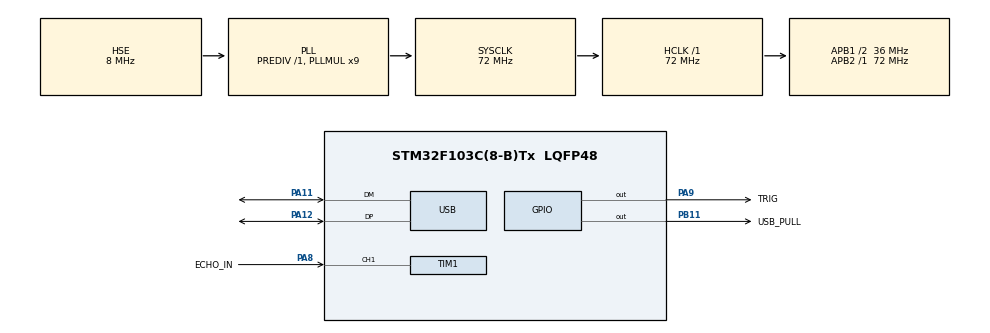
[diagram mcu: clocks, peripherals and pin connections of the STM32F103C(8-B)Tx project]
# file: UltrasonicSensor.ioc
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FREERTOS.Tasks01=defaultTask,24,128,StartDefaultTask,Default,NULL,Dynamic,NULL,NULL
Mcu.Family=STM32F1
Mcu.Name=STM32F103C(8-B)Tx
Mcu.Package=LQFP48
NVIC.PriorityGroup=NVIC_PRIORITYGROUP_4
NVIC.TIM1_CC_IRQn=true\:5\:0\:false\:false\:true\:true\:true\:true
NVIC.TIM3_IRQn=true\:0\:0\:false\:false\:true\:false\:false\:true
NVIC.TimeBase=TIM3_IRQn
NVIC.TimeBaseIP=TIM3
NVIC.USB_LP_CAN1_RX0_IRQn=true\:5\:0\:false\:false\:true\:true\:false\:true
PA11.Mode=Device
PA11.Signal=USB_DM
PA12.Mode=Device
PA12.Signal=USB_DP
PA13.Mode=Serial_Wire
PA13.Signal=SYS_JTMS-SWDIO
PA14.Mode=Serial_Wire
PA14.Signal=SYS_JTCK-SWCLK
PA8.GPIO_Label=ECHO_IN
PA8.Signal=S_TIM1_CH1
PA9.GPIO_Label=TRIG
PA9.Signal=GPIO_Output
PB11.GPIO_Label=USB_PULL
PB11.Signal=GPIO_Output
PD0-OSC_IN.Mode=HSE-External-Oscillator
PD0-OSC_IN.Signal=RCC_OSC_IN
PD1-OSC_OUT.Mode=HSE-External-Oscillator
PD1-OSC_OUT.Signal=RCC_OSC_OUT
ProjectManager.HeapSize=0x200
ProjectManager.StackSize=0x400
ProjectManager.TargetToolchain=Makefile
RCC.AHBFreq_Value=72000000
RCC.APB1CLKDivider=RCC_HCLK_DIV2
RCC.APB1Freq_Value=36000000
RCC.APB1TimFreq_Value=72000000
RCC.APB2Freq_Value=72000000
RCC.APB2TimFreq_Value=72000000
RCC.HCLKFreq_Value=72000000
RCC.PLLMUL=RCC_PLL_MUL9
RCC.SYSCLKFreq_VALUE=72000000
RCC.SYSCLKSource=RCC_SYSCLKSOURCE_PLLCLK
RCC.USBFreq_Value=48000000
RCC.USBPrescaler=RCC_USBCLKSOURCE_PLL_DIV1_5
SH.S_TIM1_CH1.0=TIM1_CH1,Input_Capture1_from_TI1
SH.S_TIM1_CH1.1=TIM1_CH1,TriggerSource_TI1ED
TIM1.Channel-Input_Capture1_from_TI1=TIM_CHANNEL_1
TIM1.ICPolarity_CH1=TIM_INPUTCHANNELPOLARITY_FALLING
TIM1.Period=65535
TIM1.Prescaler=71
TIM1.TIM_MasterOutputTrigger=TIM_TRGO_RESET
USB_DEVICE.CLASS_NAME_FS=CDC
USB_DEVICE.VirtualMode=Cdc
USB_DEVICE.VirtualModeFS=Cdc_FS
VP_FREERTOS_VS_CMSIS_V2.Mode=CMSIS_V2
VP_SYS_VS_tim3.Mode=TIM3
VP_TIM1_VS_ClockSourceINT.Mode=Internal
VP_TIM1_VS_ControllerModeReset.Mode=Reset Mode
VP_USB_DEVICE_VS_USB_DEVICE_CDC_FS.Mode=CDC_FS
board=custom

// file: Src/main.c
/* USER CODE BEGIN Header */
/**
  ******************************************************************************
  * @file           : main.c
  * @brief          : Main program body
  ******************************************************************************
  * @attention
  *
  * <h2><center>&copy; Copyright (c) 2020 STMicroelectronics.
  * All rights reserved.</center></h2>
  *
  * This software component is licensed by ST under BSD 3-Clause license,
  * the "License"; You may not use this file except in compliance with the
  * License. You may obtain a copy of the License at:
  *                        opensource.org/licenses/BSD-3-Clause
  *
  ******************************************************************************
  */
/* USER CODE END Header */

#include "main.h"
#include "cmsis_os.h"
#include "usb_device.h"

/* USER CODE BEGIN Includes */
#include "usbd_cdc_if.h"
#include "stdio.h"
#include "task.h"
/* USER CODE END Includes */

TIM_HandleTypeDef htim1;

/* Definitions for defaultTask */
osThreadId_t defaultTaskHandle;
const osThreadAttr_t defaultTask_attributes = {
  .name = "defaultTask",
  .priority = (osPriority_t) osPriorityNormal,
  .stack_size = 128 * 4
};

void SystemClock_Config(void);
static void MX_GPIO_Init(void);
static void MX_TIM1_Init(void);
void StartDefaultTask(void *argument);

/* USER CODE BEGIN 0 */
// ticks per second calculated by (system clock / prescaler)
static const uint32_t _ui32TicksPerSecond = 1000000;
static const uint32_t _ui32SpeedinMeterPerSecond = 343;

volatile uint8_t _ui8Sync = 0;
volatile float _Distance = 0;
void HAL_TIM_IC_CaptureCallback(TIM_HandleTypeDef *htim) {
    // Get timer value
    uint32_t _ui32Time = htim->Instance->CCR1;

    // Calculate distance using physics and math

    _Distance = ((_ui32Time/2.f)*_ui32SpeedinMeterPerSecond)/_ui32TicksPerSecond;

    // Set flag
    _ui8Sync = 1;
}

/* USER CODE END 0 */

int main(void)
{

  /* MCU Configuration--------------------------------------------------------*/

  /* Reset of all peripherals, Initializes the Flash interface and the Systick. */
  HAL_Init();

  /* Configure the system clock */
  SystemClock_Config();

  /* Initialize all configured peripherals */
  MX_GPIO_Init();
  MX_TIM1_Init();

  /* Init scheduler */
  osKernelInitialize();

  /* Create the thread(s) */
  /* creation of defaultTask */
  defaultTaskHandle = osThreadNew(StartDefaultTask, NULL, &defaultTask_attributes);

  /* Start scheduler */
  osKernelStart();

  /* We should never get here as control is now taken by the scheduler */
  /* Infinite loop */
  while (1)
  {

  }
}

void SystemClock_Config(void)
{
  RCC_OscInitTypeDef RCC_OscInitStruct = {0};
  RCC_ClkInitTypeDef RCC_ClkInitStruct = {0};
  RCC_PeriphCLKInitTypeDef PeriphClkInit = {0};

  /** Initializes the CPU, AHB and APB busses clocks
  */
  RCC_OscInitStruct.OscillatorType = RCC_OSCILLATORTYPE_HSE;
  RCC_OscInitStruct.HSEState = RCC_HSE_ON;
  RCC_OscInitStruct.HSEPredivValue = RCC_HSE_PREDIV_DIV1;
  RCC_OscInitStruct.HSIState = RCC_HSI_ON;
  RCC_OscInitStruct.PLL.PLLState = RCC_PLL_ON;
  RCC_OscInitStruct.PLL.PLLSource = RCC_PLLSOURCE_HSE;
  RCC_OscInitStruct.PLL.PLLMUL = RCC_PLL_MUL9;
  if (HAL_RCC_OscConfig(&RCC_OscInitStruct) != HAL_OK)
  {
    Error_Handler();
  }
  /** Initializes the CPU, AHB and APB busses clocks
  */
  RCC_ClkInitStruct.ClockType = RCC_CLOCKTYPE_HCLK|RCC_CLOCKTYPE_SYSCLK
                              |RCC_CLOCKTYPE_PCLK1|RCC_CLOCKTYPE_PCLK2;
  RCC_ClkInitStruct.SYSCLKSource = RCC_SYSCLKSOURCE_PLLCLK;
  RCC_ClkInitStruct.AHBCLKDivider = RCC_SYSCLK_DIV1;
  RCC_ClkInitStruct.APB1CLKDivider = RCC_HCLK_DIV2;
  RCC_ClkInitStruct.APB2CLKDivider = RCC_HCLK_DIV1;

  if (HAL_RCC_ClockConfig(&RCC_ClkInitStruct, FLASH_LATENCY_2) != HAL_OK)
  {
    Error_Handler();
  }
  PeriphClkInit.PeriphClockSelection = RCC_PERIPHCLK_USB;
  PeriphClkInit.UsbClockSelection = RCC_USBCLKSOURCE_PLL_DIV1_5;
  if (HAL_RCCEx_PeriphCLKConfig(&PeriphClkInit) != HAL_OK)
  {
    Error_Handler();
  }
}

static void MX_TIM1_Init(void)
{

  TIM_ClockConfigTypeDef sClockSourceConfig = {0};
  TIM_SlaveConfigTypeDef sSlaveConfig = {0};
  TIM_MasterConfigTypeDef sMasterConfig = {0};
  TIM_IC_InitTypeDef sConfigIC = {0};

  htim1.Instance = TIM1;
  htim1.Init.Prescaler = 71;
  htim1.Init.CounterMode = TIM_COUNTERMODE_UP;
  htim1.Init.Period = 65535;
  htim1.Init.ClockDivision = TIM_CLOCKDIVISION_DIV1;
  htim1.Init.RepetitionCounter = 0;
  htim1.Init.AutoReloadPreload = TIM_AUTORELOAD_PRELOAD_DISABLE;
  if (HAL_TIM_Base_Init(&htim1) != HAL_OK)
  {
    Error_Handler();
  }
  sClockSourceConfig.ClockSource = TIM_CLOCKSOURCE_INTERNAL;
  if (HAL_TIM_ConfigClockSource(&htim1, &sClockSourceConfig) != HAL_OK)
  {
    Error_Handler();
  }
  if (HAL_TIM_IC_Init(&htim1) != HAL_OK)
  {
    Error_Handler();
  }
  sSlaveConfig.SlaveMode = TIM_SLAVEMODE_RESET;
  sSlaveConfig.InputTrigger = TIM_TS_TI1F_ED;
  sSlaveConfig.TriggerPolarity = TIM_INPUTCHANNELPOLARITY_RISING;
  sSlaveConfig.TriggerFilter = 0;
  if (HAL_TIM_SlaveConfigSynchro(&htim1, &sSlaveConfig) != HAL_OK)
  {
    Error_Handler();
  }
  sMasterConfig.MasterOutputTrigger = TIM_TRGO_RESET;
  sMasterConfig.MasterSlaveMode = TIM_MASTERSLAVEMODE_DISABLE;
  if (HAL_TIMEx_MasterConfigSynchronization(&htim1, &sMasterConfig) != HAL_OK)
  {
    Error_Handler();
  }
  sConfigIC.ICPolarity = TIM_INPUTCHANNELPOLARITY_FALLING;
  sConfigIC.ICSelection = TIM_ICSELECTION_DIRECTTI;
  sConfigIC.ICPrescaler = TIM_ICPSC_DIV1;
  sConfigIC.ICFilter = 0;
  if (HAL_TIM_IC_ConfigChannel(&htim1, &sConfigIC, TIM_CHANNEL_1) != HAL_OK)
  {
    Error_Handler();
  }

}

static void MX_GPIO_Init(void)
{
  GPIO_InitTypeDef GPIO_InitStruct = {0};

  /* GPIO Ports Clock Enable */
  __HAL_RCC_GPIOD_CLK_ENABLE();
  __HAL_RCC_GPIOB_CLK_ENABLE();
  __HAL_RCC_GPIOA_CLK_ENABLE();

  /*Configure GPIO pin Output Level */
  HAL_GPIO_WritePin(USB_PULL_GPIO_Port, USB_PULL_Pin, GPIO_PIN_RESET);

  /*Configure GPIO pin Output Level */
  HAL_GPIO_WritePin(TRIG_GPIO_Port, TRIG_Pin, GPIO_PIN_RESET);

  /*Configure GPIO pin : USB_PULL_Pin */
  GPIO_InitStruct.Pin = USB_PULL_Pin;
  GPIO_InitStruct.Mode = GPIO_MODE_OUTPUT_PP;
  GPIO_InitStruct.Pull = GPIO_NOPULL;
  GPIO_InitStruct.Speed = GPIO_SPEED_FREQ_LOW;
  HAL_GPIO_Init(USB_PULL_GPIO_Port, &GPIO_InitStruct);

  /*Configure GPIO pin : TRIG_Pin */
  GPIO_InitStruct.Pin = TRIG_Pin;
  GPIO_InitStruct.Mode = GPIO_MODE_OUTPUT_PP;
  GPIO_InitStruct.Pull = GPIO_NOPULL;
  GPIO_InitStruct.Speed = GPIO_SPEED_FREQ_LOW;
  HAL_GPIO_Init(TRIG_GPIO_Port, &GPIO_InitStruct);

}

/* USER CODE BEGIN 4 */
char _data[24];

void USBInit() {
    // TODO: see details at
    GPIO_InitTypeDef GPIO_InitStruct;
    GPIO_InitStruct.Pin = GPIO_PIN_12;
    GPIO_InitStruct.Mode = GPIO_MODE_OUTPUT_PP;
    GPIO_InitStruct.Pull = GPIO_NOPULL;
    GPIO_InitStruct.Speed = GPIO_SPEED_FREQ_LOW;
    HAL_GPIO_Init(GPIOA, &GPIO_InitStruct);
    HAL_GPIO_WritePin(GPIOA, GPIO_PIN_12, GPIO_PIN_SET);
    HAL_Delay(500);
    HAL_GPIO_WritePin(GPIOA, GPIO_PIN_12, GPIO_PIN_RESET);
    HAL_Delay(500);
}
/* USER CODE END 4 */

void StartDefaultTask(void *argument)
{
  /* init code for USB_DEVICE */
  USBInit();
  MX_USB_DEVICE_Init();
  /* USER CODE BEGIN 5 */
  /* Infinite loop */
    HAL_TIM_IC_Start_IT(&htim1, 0);

    for (;;) {
        HAL_GPIO_WritePin(TRIG_GPIO_Port, TRIG_Pin, GPIO_PIN_SET);
        osDelay(20);
        HAL_GPIO_WritePin(TRIG_GPIO_Port, TRIG_Pin, GPIO_PIN_RESET);

        while (_ui8Sync == 0);

        _ui8Sync = 0;
        if(hUsbDeviceFS.dev_config) {
            uint8_t len = snprintf(_data, 24, "%.4f\n", _Distance);
            CDC_Transmit_FS(_data, len);
        }
        osDelay(20);
    }
  /* USER CODE END 5 */
}

 /**
  * @brief  Period elapsed callback in non blocking mode
  * @note   This function is called  when TIM3 interrupt took place, inside
  * HAL_TIM_IRQHandler(). It makes a direct call to HAL_IncTick() to increment
  * a global variable "uwTick" used as application time base.
  * @param  htim : TIM handle
  * @retval None
  */
void HAL_TIM_PeriodElapsedCallback(TIM_HandleTypeDef *htim)
{
  if (htim->Instance == TIM3) {
    HAL_IncTick();
  }
}

void Error_Handler(void)
{
}

/************************ (C) COPYRIGHT STMicroelectronics *****END OF FILE****/
